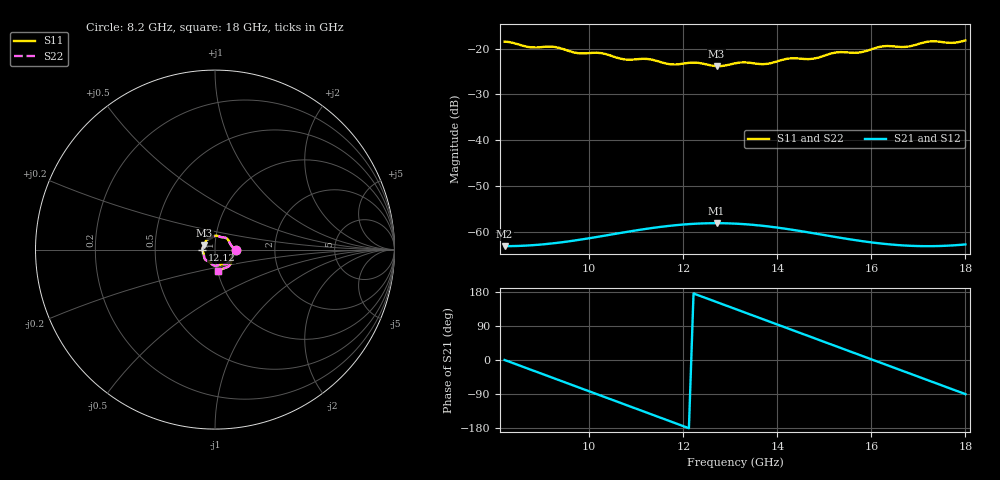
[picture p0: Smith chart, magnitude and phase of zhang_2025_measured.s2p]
! Benchmark Measurement Data: Zhang et al. (2025) [JCIS]
! Total Thickness d = 1.2 mm, FBW = 70.0%, Rozanov Ratio = 0.77
# Hz S RI R 50
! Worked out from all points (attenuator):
!   101 points, 8.2 GHz to 18 GHz, reference 50 ohm
!   highest |S21| = -58.00 dB at 12.71 GHz (marker M1); lowest = -63.0 dB at 8.2 GHz (marker M2)
!   lowest |S11| = -23.8 dB at 12.71 GHz (marker M3), VSWR 1.14, Z = 44.4 + j2.22 ohm
!   |S11| at or under -10 dB: start of sweep to end of sweep
!   |S22| runs from -23.8 to -18.2 dB; largest |S21 - S12| = 0
!   S11 on the Smith chart (normalised r, x): 8.2 GHz: 1.27, +0.00; 12.12 GHz: 0.87, -0.01; 18 GHz: 1.01, -0.25
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8.2e9  0.1188 0  0.000708 0  0.000708 0  0.1188 0
8.788e9  0.0919 -0.0457  0.000646 -0.000329  0.000646 -0.000329  0.0919 -0.0457
9.278e9  0.0688 -0.0778  0.000497 -0.000582  0.000497 -0.000582  0.0688 -0.0778
9.866e9  0.0229 -0.0854  0.000197 -0.000819  0.000197 -0.000819  0.0229 -0.0854
1.0258e10  -0.00405 -0.089  -7.13e-05 -0.000906  -7.13e-05 -0.000906  -0.00405 -0.089
1.0748e10  -0.0317 -0.0691  -0.000455 -0.000893  -0.000455 -0.000893  -0.0317 -0.0691
1.1238e10  -0.056 -0.0528  -0.000834 -0.000713  -0.000834 -0.000713  -0.056 -0.0528
1.1532e10  -0.0613 -0.0355  -0.00102 -0.000522  -0.00102 -0.000522  -0.0613 -0.0355
1.1826e10  -0.0641 -0.0194  -0.00116 -0.000279  -0.00116 -0.000279  -0.0641 -0.0194
1.212e10  -0.0697 -0.00439  -0.00123 -6.97e-19  -0.00123 -6.97e-19  -0.0697 -0.00439
1.2708e10  -0.0592 0.025  -0.00112 0.000572  -0.00112 0.000572  -0.0592 0.025
1.31e10  -0.0525 0.0448  -0.00088 0.00088  -0.00088 0.00088  -0.0525 0.0448
1.3688e10  -0.0264 0.0622  -0.000364 0.00112  -0.000364 0.00112  -0.0264 0.0622
1.4276e10  0.00466 0.078  0.000168 0.00106  0.000168 0.00106  0.00466 0.078
1.4766e10  0.0333 0.0699  0.000512 0.000835  0.000512 0.000835  0.0333 0.0699
1.5256e10  0.0669 0.0612  0.000719 0.000522  0.000719 0.000522  0.0669 0.0612
1.5746e10  0.0848 0.0316  0.000789 0.000189  0.000789 0.000189  0.0848 0.0316
1.6432e10  0.1043 -0.0192  0.000701 -0.000228  0.000701 -0.000228  0.1043 -0.0192
1.6726e10  0.0953 -0.0418  0.000613 -0.000376  0.000613 -0.000376  0.0953 -0.0418
1.7216e10  0.0831 -0.0853  0.000416 -0.000573  0.000416 -0.000573  0.0831 -0.0853
1.7706e10  0.0436 -0.1066  0.000168 -0.000701  0.000168 -0.000701  0.0436 -0.1066
1.8e10  0.0191 -0.1208  2.26e-19 -0.00074  2.26e-19 -0.00074  0.0191 -0.1208
